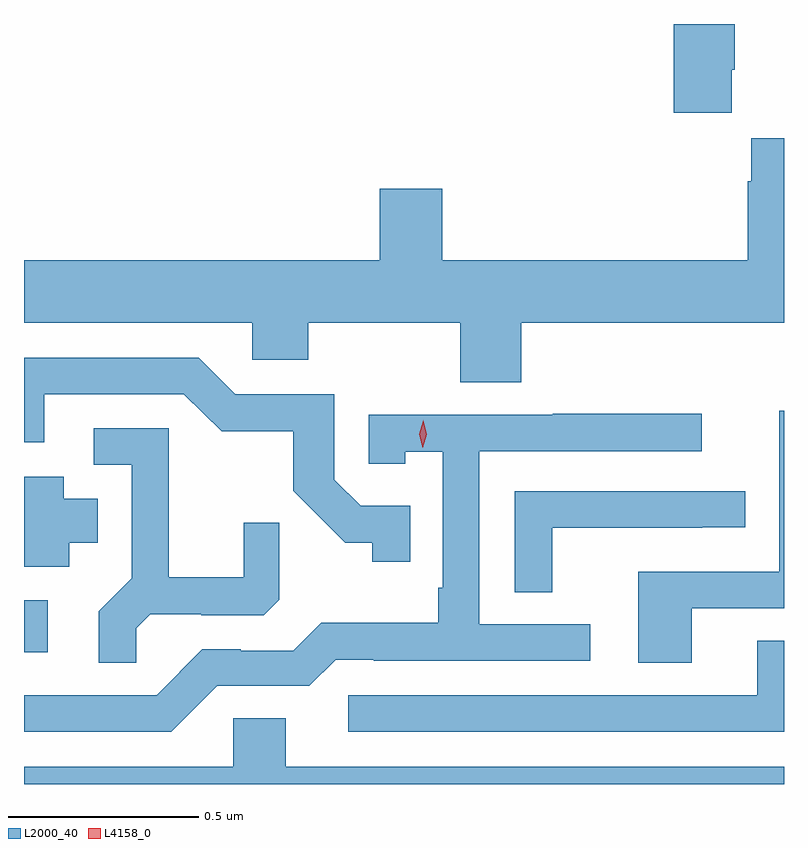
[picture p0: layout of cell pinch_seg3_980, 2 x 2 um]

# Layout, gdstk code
import gdstk
lib = gdstk.Library(unit=1e-6, precision=1e-09)
def R(c, l, rs):  # rectangles x0, y0, x1, y1
    for r in rs: c.add(gdstk.rectangle(r[:2], r[2:], *l))
def P(c, l, *ps):  # polygons
    for p in ps: c.add(gdstk.Polygon(p, *l))
L2000_40 = (2000, 40)
L4158_0 = (4158, 0)

pinch_seg3_980 = lib.new_cell('pinch_seg3_980')
R(pinch_seg3_980, L2000_40, [(487.748,709.373,487.81,709.509)])
P(pinch_seg3_980, L2000_40, [(489.611,710.905),(489.618,710.905),(489.618,711.026),(489.458,711.026),(489.458,710.793),(489.611,710.793)],
  [(489.056,710.24),(489.748,710.24),(489.748,710.725),(489.662,710.725),(489.662,710.612),(489.653,710.612),(489.653,710.404),(488.848,710.404),(488.848,710.593),(488.684,710.593),(488.684,710.404),(487.748,710.404),(487.748,710.24),(488.349,710.24),(488.349,710.142),(488.496,710.142),(488.496,710.24),(488.896,710.24),(488.896,710.083),(489.056,710.083)],
  [(488.765,709.758),(488.634,709.758),(488.565,709.827),(488.565,710.052),(488.304,710.052),(488.208,710.148),(487.748,710.148),(487.748,709.926),(487.801,709.926),(487.801,710.052),(488.169,710.052),(488.268,709.954),(488.457,709.954),(488.457,709.798),(488.594,709.661),(488.664,709.661),(488.664,709.611),(488.765,709.611)],
  [(489.505,709.488),(489.748,709.488),(489.748,710.008),(489.735,710.008),(489.735,709.584),(489.365,709.584),(489.365,709.345),(489.505,709.345)],
  [(488.256,709.284),(488.499,709.284),(488.568,709.353),(488.668,709.353),(488.668,709.35),(489.238,709.35),(489.238,709.446),(488.946,709.446),(488.946,709.902),(489.532,709.902),(489.532,710.001),(489.139,710.001),(489.139,709.998),(488.655,709.998),(488.655,709.869),(488.751,709.869),(488.751,709.901),(488.85,709.901),(488.85,709.543),(488.838,709.543),(488.838,709.45),(488.53,709.45),(488.457,709.377),(488.318,709.377),(488.318,709.38),(488.217,709.38),(488.097,709.26),(487.748,709.26),(487.748,709.164),(488.136,709.164)],
  [(488.043,709.436),(488.08,709.473),(488.214,709.473),(488.214,709.47),(488.379,709.47),(488.42,709.511),(488.42,709.713),(488.326,709.713),(488.326,709.57),(488.129,709.57),(488.129,709.962),(487.932,709.962),(487.932,709.866),(488.031,709.866),(488.031,709.567),(487.945,709.481),(487.945,709.345),(488.043,709.345)],
  [(487.867,709.661),(487.942,709.661),(487.942,709.777),(487.852,709.777),(487.852,709.834),(487.748,709.834),(487.748,709.598),(487.867,709.598)],
  [(489.138,709.701),(489.533,709.701),(489.533,709.702),(489.646,709.702),(489.646,709.797),(489.039,709.797),(489.039,709.531),(489.138,709.531)],
  [(489.748,709.403),(489.677,709.403),(489.677,709.26),(488.601,709.26),(488.601,709.164),(489.748,709.164)],
  [(489.748,709.072),(488.437,709.072),(488.437,709.199),(488.298,709.199),(488.298,709.072),(487.748,709.072),(487.748,709.026),(489.748,709.026)])
P(pinch_seg3_980, L4158_0, [(488.797,709.911),(488.797,709.911),(488.788,709.947),(488.798,709.982),(488.798,709.983),(488.799,709.982),(488.808,709.947),(488.797,709.911)])

lib.write_gds('pinch_seg3_980.gds')
